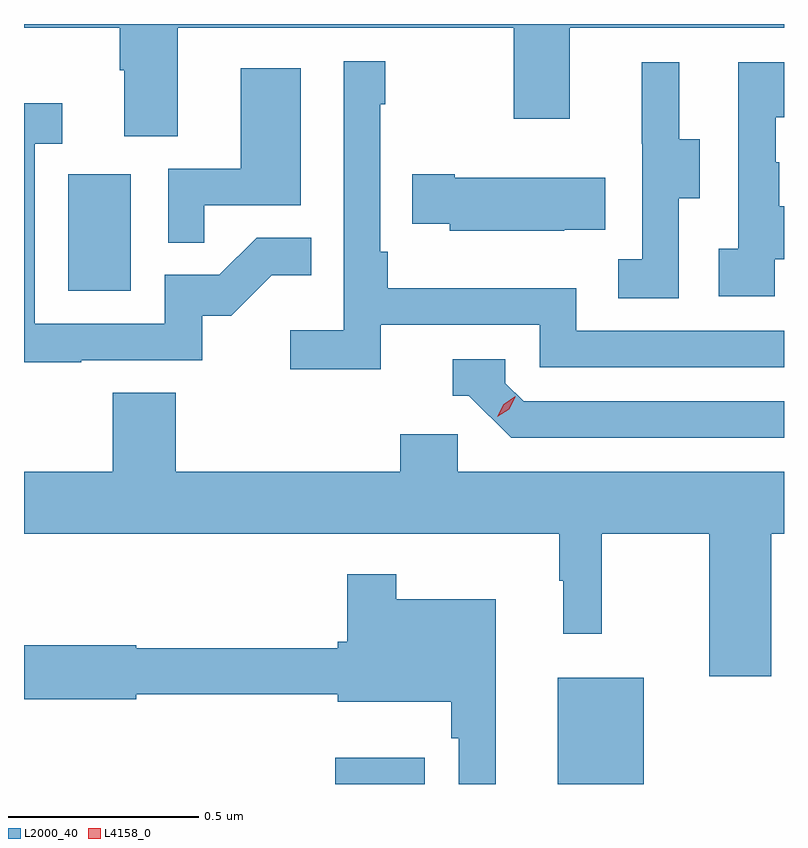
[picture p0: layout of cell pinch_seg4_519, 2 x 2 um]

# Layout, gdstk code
import gdstk
lib = gdstk.Library(unit=1e-6, precision=1e-09)
def R(c, l, rs):  # rectangles x0, y0, x1, y1
    for r in rs: c.add(gdstk.rectangle(r[:2], r[2:], *l))
def P(c, l, *ps):  # polygons
    for p in ps: c.add(gdstk.Polygon(p, *l))
L2000_40 = (2000, 40)
L4158_0 = (4158, 0)

pinch_seg4_519 = lib.new_cell('pinch_seg4_519')
R(pinch_seg4_519, L2000_40, [(991.196,764.194,991.432,764.263), (991.781,764.194,992.008,764.473), (990.494,765.492,990.658,765.799)])
P(pinch_seg4_519, L2000_40, [(990.781,766.184),(991.666,766.184),(991.666,765.945),(991.813,765.945),(991.813,766.184),(992.377,766.184),(992.377,766.194),(990.377,766.194),(990.377,766.184),(990.629,766.184),(990.629,766.072),(990.641,766.072),(990.641,765.898),(990.781,765.898)],
  [(991.316,765.402),(991.734,765.402),(991.734,765.291),(992.377,765.291),(992.377,765.387),(991.83,765.387),(991.83,765.499),(991.334,765.499),(991.334,765.595),(991.314,765.595),(991.314,765.983),(991.327,765.983),(991.327,766.096),(991.218,766.096),(991.218,765.388),(991.077,765.388),(991.077,765.286),(991.316,765.286)],
  [(992.352,765.575),(992.377,765.575),(992.377,765.715),(992.365,765.715),(992.365,765.83),(992.355,765.83),(992.355,765.948),(992.377,765.948),(992.377,766.093),(992.256,766.093),(992.256,765.602),(992.205,765.602),(992.205,765.477),(992.352,765.477)],
  [(992.1,765.736),(992.155,765.736),(992.155,765.891),(992.101,765.891),(992.101,766.093),(992.003,766.093),(992.003,765.879),(992.004,765.879),(992.004,765.575),(991.941,765.575),(991.941,765.472),(992.1,765.472)],
  [(990.851,765.717),(991.105,765.717),(991.105,766.078),(990.947,766.078),(990.947,765.813),(990.756,765.813),(990.756,765.619),(990.851,765.619)],
  [(990.527,765.309),(990.846,765.309),(990.846,765.426),(990.922,765.426),(991.029,765.533),(991.133,765.533),(991.133,765.632),(990.989,765.632),(990.891,765.534),(990.747,765.534),(990.747,765.405),(990.405,765.405),(990.405,765.879),(990.478,765.879),(990.478,765.985),(990.377,765.985),(990.377,765.304),(990.527,765.304)],
  [(991.799,765.653),(991.907,765.653),(991.907,765.79),(991.51,765.79),(991.51,765.798),(991.399,765.798),(991.399,765.668),(991.497,765.668),(991.497,765.65),(991.799,765.65)],
  [(992.377,765.201),(991.692,765.201),(991.644,765.249),(991.644,765.312),(991.505,765.312),(991.505,765.216),(991.548,765.216),(991.659,765.105),(992.377,765.105)],
  [(992.344,764.852),(992.377,764.852),(992.377,765.016),(991.518,765.016),(991.518,765.114),(991.367,765.114),(991.367,765.016),(990.776,765.016),(990.776,765.224),(990.611,765.224),(990.611,765.016),(990.377,765.016),(990.377,764.852),(991.785,764.852),(991.785,764.729),(991.796,764.729),(991.796,764.589),(991.898,764.589),(991.898,764.852),(992.18,764.852),(992.18,764.478),(992.344,764.478)],
  [(991.618,764.68),(991.357,764.68),(991.357,764.746),(991.228,764.746),(991.228,764.569),(991.202,764.569),(991.202,764.551),(990.672,764.551),(990.672,764.559),(990.377,764.559),(990.377,764.417),(990.672,764.417),(990.672,764.43),(991.202,764.43),(991.202,764.411),(991.501,764.411),(991.501,764.315),(991.521,764.315),(991.521,764.194),(991.618,764.194)])
P(pinch_seg4_519, L4158_0, [(991.623,765.161),(991.623,765.161),(991.639,765.194),(991.67,765.214),(991.67,765.214),(991.67,765.213),(991.654,765.18),(991.623,765.161)])

lib.write_gds('pinch_seg4_519.gds')
